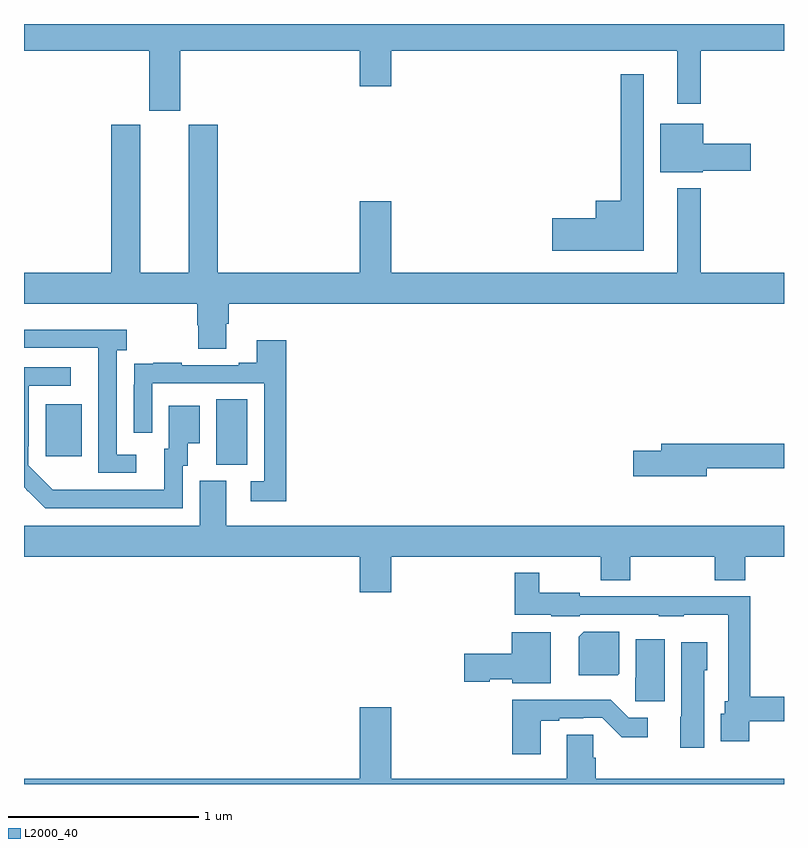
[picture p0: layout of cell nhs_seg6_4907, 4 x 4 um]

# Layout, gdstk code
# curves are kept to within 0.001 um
import gdstk
lib = gdstk.Library(unit=1e-6, precision=1e-09)
def R(c, l, rs):  # rectangles x0, y0, x1, y1
    for r in rs: c.add(gdstk.rectangle(r[:2], r[2:], *l))
def P(c, l, *ps):  # polygons
    for p in ps: c.add(gdstk.Polygon(p, *l))
L2000_40 = (2000, 40)

nhs_seg6_4907 = lib.new_cell('nhs_seg6_4907')
R(nhs_seg6_4907, L2000_40, [(404.012,921.181,404.176,921.524), (403.115,921.225,403.303,921.499)])
P(nhs_seg6_4907, L2000_40, [(403.822,923.36),(404.768,923.36),(404.768,923.172),(404.932,923.172),(404.932,923.36),(406.439,923.36),(406.439,923.079),(406.561,923.079),(406.561,923.36),(407,923.36),(407,923.5),(403,923.5),(403,923.36),(403.658,923.36),(403.658,923.043),(403.822,923.043)],
  [(406.261,923.236),(406.14,923.236),(406.14,922.57),(406.01,922.57),(406.01,922.478),(405.78,922.478),(405.78,922.307),(406.261,922.307)],
  [(406.572,922.727),(406.825,922.727),(406.825,922.869),(406.576,922.869),(406.576,922.975),(406.349,922.975),(406.349,922.721),(406.572,922.721)],
  [(404.065,921.922),(404.078,921.922),(404.078,922.028),(407,922.028),(407,922.192),(406.561,922.192),(406.561,922.636),(406.439,922.636),(406.439,922.192),(404.932,922.192),(404.932,922.567),(404.768,922.567),(404.768,922.192),(404.021,922.192),(404.021,922.971),(403.868,922.971),(403.868,922.192),(403.612,922.192),(403.612,922.971),(403.46,922.971),(403.46,922.192),(403,922.192),(403,922.028),(403.913,922.028),(403.913,921.915),(403.918,921.915),(403.918,921.79),(404.065,921.79)],
  [(403.591,921.234),(403.488,921.234),(403.488,921.782),(403.54,921.782),(403.54,921.892),(403,921.892),(403,921.795),(403.391,921.795),(403.391,921.595),(403.392,921.595),(403.392,921.138),(403.591,921.138)],
  [(404.381,921.835),(404.225,921.835),(404.225,921.718),(404.129,921.718),(404.129,921.705),(403.829,921.705),(403.829,921.718),(403.681,921.718),(403.681,921.711),(403.579,921.711),(403.579,921.602),(403.578,921.602),(403.578,921.348),(403.674,921.348),(403.674,921.609),(404.265,921.609),(404.265,921.093),(404.193,921.093),(404.193,920.988),(404.381,920.988)],
  [(403.836,921.174),(403.861,921.174),(403.861,921.293),(403.924,921.293),(403.924,921.49),(403.763,921.49),(403.763,921.264),(403.739,921.264),(403.739,921.048),(403.152,921.049),(403.023,921.177),(403.023,921.277),(403.026,921.277),(403.026,921.597),(403.246,921.597),(403.246,921.693),(403,921.693),(403,921.062),(403.02,921.042),(403.021,921.043),(403.112,920.952),(403.836,920.952)],
  [(406.594,921.162),(407,921.162),(407,921.29),(406.355,921.29),(406.355,921.254),(406.206,921.254),(406.206,921.119),(406.594,921.119)],
  [(404.932,920.696),(406.036,920.696),(406.036,920.572),(406.191,920.572),(406.191,920.696),(406.636,920.696),(406.636,920.572),(406.796,920.572),(406.796,920.696),(407,920.696),(407,920.86),(404.065,920.86),(404.065,921.096),(403.925,921.096),(403.925,920.86),(403,920.86),(403,920.696),(404.768,920.696),(404.768,920.508),(404.932,920.508)],
  [(406.817,919.83),(407,919.83),(407,919.958),(406.823,919.958),(406.823,920.487),(406.573,920.487),(406.573,920.489),(406.341,920.489),(406.341,920.487),(405.924,920.487),(405.924,920.506),(405.712,920.506),(405.712,920.611),(405.583,920.611),(405.583,920.39),(405.774,920.39),(405.774,920.384),(405.924,920.384),(405.924,920.391),(406.341,920.391),(406.341,920.384),(406.473,920.384),(406.473,920.39),(406.707,920.39),(406.707,919.935),(406.688,919.935),(406.688,919.869),(406.667,919.869),(406.667,919.725),(406.817,919.725)],
  [(406.132,920.08),(406.132,920.302),(405.946,920.302),(405.92,920.276),(405.92,920.072),(406.124,920.072)],
  [(405.772,920.3),(405.566,920.3),(405.566,920.186),(405.318,920.186),(405.318,920.039),(405.45,920.039),(405.45,920.051),(405.57,920.051),(405.57,920.03),(405.772,920.03)],
  [(406.372,920.263),(406.22,920.263),(406.22,920.058),(406.216,920.058),(406.216,919.935),(406.372,919.935)],
  [(406.579,920.1),(406.597,920.1),(406.597,920.245),(406.46,920.245),(406.46,919.854),(406.454,919.854),(406.454,919.692),(406.579,919.692)],
  [(405.721,919.833),(405.817,919.833),(405.817,919.845),(405.944,919.845),(405.944,919.848),(406.044,919.848),(406.147,919.746),(406.282,919.746),(406.282,919.848),(406.182,919.848),(406.087,919.943),(405.569,919.943),(405.569,919.656),(405.721,919.656)],
  [(407,919.528),(406.01,919.528),(406.01,919.638),(405.996,919.638),(405.996,919.76),(405.857,919.76),(405.857,919.528),(404.932,919.528),(404.932,919.903),(404.768,919.903),(404.768,919.528),(403,919.528),(403,919.5),(407,919.5)])

lib.write_gds('nhs_seg6_4907.gds')
